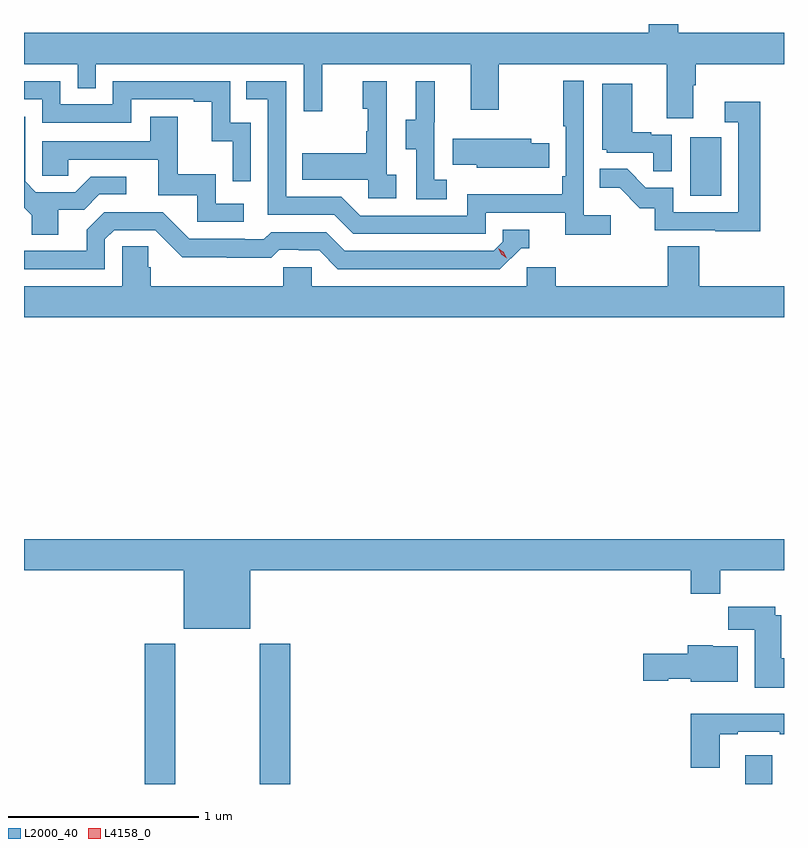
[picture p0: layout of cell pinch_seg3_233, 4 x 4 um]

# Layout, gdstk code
import gdstk
lib = gdstk.Library(unit=1e-6, precision=1e-09)
def R(c, l, rs):  # rectangles x0, y0, x1, y1
    for r in rs: c.add(gdstk.rectangle(r[:2], r[2:], *l))
def P(c, l, *ps):  # polygons
    for p in ps: c.add(gdstk.Polygon(p, *l))
L2000_40 = (2000, 40)
L4158_0 = (4158, 0)

pinch_seg3_233 = lib.new_cell('pinch_seg3_233')
R(pinch_seg3_233, L2000_40, [(899.753,735.755,899.913,736.492), (900.358,735.755,900.518,736.492), (902.915,735.755,903.055,735.907), (902.624,738.852,902.788,739.159)])
P(pinch_seg3_233, L2000_40, [(902.641,739.432),(902.654,739.432),(902.654,739.544),(903.118,739.544),(903.118,739.708),(902.561,739.708),(902.561,739.755),(902.405,739.755),(902.405,739.708),(899.118,739.708),(899.118,739.544),(899.4,739.544),(899.4,739.417),(899.496,739.417),(899.496,739.544),(900.591,739.544),(900.591,739.296),(900.689,739.296),(900.689,739.544),(901.469,739.544),(901.469,739.305),(901.617,739.305),(901.617,739.544),(902.501,739.544),(902.501,739.258),(902.641,739.258)],
  [(902.206,738.748),(902.064,738.748),(902.064,739.456),(901.956,739.456),(901.956,739.216),(901.968,739.216),(901.968,738.955),(901.951,738.955),(901.951,738.859),(901.452,738.859),(901.452,738.747),(900.888,738.747),(900.789,738.846),(900.498,738.846),(900.498,739.455),(900.289,739.455),(900.289,739.359),(900.402,739.359),(900.402,738.75),(900.752,738.75),(900.851,738.651),(901.548,738.651),(901.548,738.762),(901.967,738.762),(901.967,738.646),(902.206,738.646)],
  [(900.312,739.236),(900.204,739.236),(900.204,739.455),(899.586,739.455),(899.586,739.332),(899.31,739.332),(899.31,739.455),(899.118,739.455),(899.118,739.359),(899.214,739.359),(899.214,739.236),(899.682,739.236),(899.682,739.359),(900.011,739.359),(900.011,739.347),(900.107,739.347),(900.107,739.139),(900.216,739.139),(900.216,738.927),(900.312,738.927)],
  [(901.078,738.962),(901.026,738.962),(901.026,739.453),(900.902,739.453),(900.902,739.308),(900.928,739.308),(900.928,739.19),(900.918,739.19),(900.918,739.075),(900.583,739.075),(900.583,738.935),(900.93,738.935),(900.93,738.837),(901.078,738.837)],
  [(901.342,738.935),(901.278,738.935),(901.278,739.239),(901.28,739.239),(901.28,739.453),(901.181,739.453),(901.181,739.251),(901.127,739.251),(901.127,739.096),(901.182,739.096),(901.182,738.832),(901.342,738.832)],
  [(902.526,739.173),(902.42,739.173),(902.42,739.186),(902.32,739.186),(902.32,739.441),(902.162,739.441),(902.162,739.092),(902.184,739.092),(902.184,739.077),(902.431,739.077),(902.431,738.979),(902.526,738.979)],
  [(902.993,739.345),(902.805,739.345),(902.805,739.239),(902.877,739.239),(902.877,738.765),(902.535,738.765),(902.535,738.894),(902.391,738.894),(902.293,738.992),(902.149,738.992),(902.149,738.893),(902.253,738.893),(902.36,738.786),(902.437,738.786),(902.437,738.669),(902.755,738.669),(902.755,738.664),(902.993,738.664)],
  [(899.299,738.778),(899.434,738.778),(899.514,738.858),(899.656,738.858),(899.656,738.951),(899.468,738.951),(899.387,738.87),(899.181,738.87),(899.124,738.927),(899.124,739.267),(899.118,739.267),(899.118,738.789),(899.159,738.748),(899.159,738.646),(899.299,738.646)],
  [(900.274,738.81),(900.126,738.81),(900.126,738.964),(899.927,738.964),(899.927,739.267),(899.783,739.267),(899.783,739.137),(899.214,739.137),(899.214,738.957),(899.351,738.957),(899.351,739.041),(899.825,739.041),(899.825,738.855),(900.03,738.855),(900.03,738.714),(900.274,738.714)],
  [(901.772,738.999),(901.883,738.999),(901.883,739.128),(901.789,739.128),(901.789,739.15),(901.375,739.15),(901.375,739.013),(901.5,739.013),(901.5,738.998),(901.772,738.998)],
  [(899.544,738.621),(899.592,738.669),(899.808,738.669),(899.95,738.527),(900.186,738.527),(900.186,738.525),(900.419,738.525),(900.461,738.567),(900.564,738.567),(900.564,738.564),(900.671,738.564),(900.77,738.465),(901.623,738.465),(901.734,738.576),(901.777,738.576),(901.777,738.672),(901.638,738.672),(901.638,738.609),(901.59,738.561),(900.807,738.561),(900.708,738.66),(900.419,738.66),(900.38,738.621),(900.281,738.621),(900.281,738.624),(899.988,738.624),(899.847,738.765),(899.541,738.765),(899.447,738.671),(899.447,738.561),(899.118,738.561),(899.118,738.465),(899.544,738.465)],
  [(903.118,738.376),(902.672,738.376),(902.672,738.584),(902.507,738.584),(902.507,738.376),(901.916,738.376),(901.916,738.474),(901.764,738.474),(901.764,738.376),(900.633,738.376),(900.633,738.474),(900.483,738.474),(900.483,738.376),(899.786,738.376),(899.786,738.474),(899.771,738.474),(899.771,738.584),(899.634,738.584),(899.634,738.376),(899.118,738.376),(899.118,738.212),(903.118,738.212)],
  [(900.31,736.88),(902.627,736.88),(902.627,736.756),(902.783,736.756),(902.783,736.88),(903.118,736.88),(903.118,737.044),(899.118,737.044),(899.118,736.88),(899.96,736.88),(899.96,736.571),(900.31,736.571)],
  [(903.118,736.416),(903.103,736.416),(903.103,736.642),(903.073,736.642),(903.073,736.687),(902.824,736.687),(902.824,736.568),(902.963,736.568),(902.963,736.262),(903.118,736.262)],
  [(902.875,736.48),(902.742,736.48),(902.742,736.486),(902.612,736.486),(902.612,736.44),(902.376,736.44),(902.376,736.298),(902.508,736.298),(902.508,736.31),(902.628,736.31),(902.628,736.292),(902.875,736.292)],
  [(902.779,736.017),(902.875,736.017),(902.875,736.029),(903.095,736.029),(903.095,736.017),(903.118,736.017),(903.118,736.126),(902.627,736.126),(902.627,735.84),(902.779,735.84)])
P(pinch_seg3_233, L4158_0, [(901.659,738.522),(901.629,738.542),(901.614,738.574),(901.614,738.575),(901.614,738.575),(901.644,738.555),(901.66,738.522),(901.66,738.522)])

lib.write_gds('pinch_seg3_233.gds')
